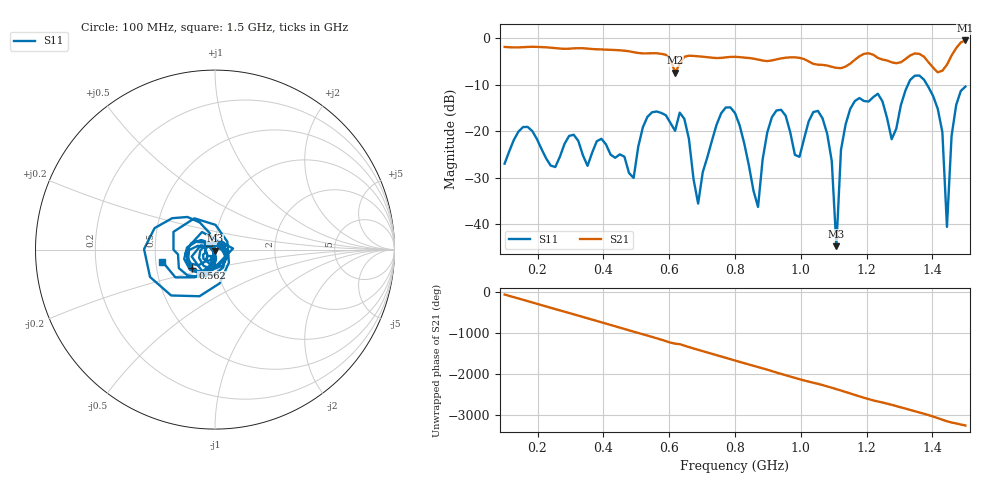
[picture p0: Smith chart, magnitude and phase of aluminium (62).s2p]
! NanoVNA-App
! Date: 2025-09-25 14:55:45
! Start: 100MHz Stop: 1,5GHz Points: 101
! S-Parameter data: F S11 S21 S12 S22
# Hz S RI R 50
!  Frequency  S11_Real  S11_Imag  S21_Real  S21_Imag  S12_Real  S12_Imag  S22_Real  S22_Imag
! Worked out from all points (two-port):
!   101 points, 100 MHz to 1.5 GHz, reference 50 ohm
!   highest |S21| = -0.53 dB at 1.5 GHz (marker M1); lowest = -7.4 dB at 618 MHz (marker M2)
!   |S21| within 3 dB of the highest: start of sweep to 584.7 MHz; 1.46 GHz to end of sweep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
!   lowest |S11| = -44.7 dB at 1.108 GHz (marker M3), VSWR 1.01, Z = 49.9 - j0.575 ohm
!   |S11| at or under -10 dB: start of sweep to 1.326 GHz; 1.383 GHz to end of sweep
!   S12 and S22 are empty: the file has one direction only
!   S11 on the Smith chart (normalised r, x): 100 MHz: 1.07, +0.06; 562 MHz: 0.76, -0.16; 1.5 GHz: 0.54, -0.08
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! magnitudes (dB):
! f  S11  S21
! 100 MHz  -27.0  -1.9
! 338 MHz  -25.2  -2.2
! 492 MHz  -30.1  -3.0
! 562 MHz  -15.8  -3.3
! 576 MHz  -16.1  -3.4
! 618 MHz  -19.9  -7.4
! 688 MHz  -35.6  -3.9
! 800 MHz  -16.1  -4.1
! 870 MHz  -36.3  -4.6
! 912 MHz  -17.0  -4.8
! 996 MHz  -25.5  -4.3
! 1.038 GHz  -15.9  -5.6
! 1.08 GHz  -20.6  -5.9
! 1.108 GHz  -44.7  -6.4
! 1.122 GHz  -24.0  -6.5
! 1.15 GHz  -15.3  -5.5
! 1.276 GHz  -21.8  -5.2
! 1.374 GHz  -8.9  -4.0
! 1.43 GHz  -20.2  -7.0
! 1.444 GHz  -40.6  -5.8
! 1.458 GHz  -21.0  -3.8
! 1.5 GHz  -10.4  -0.5
